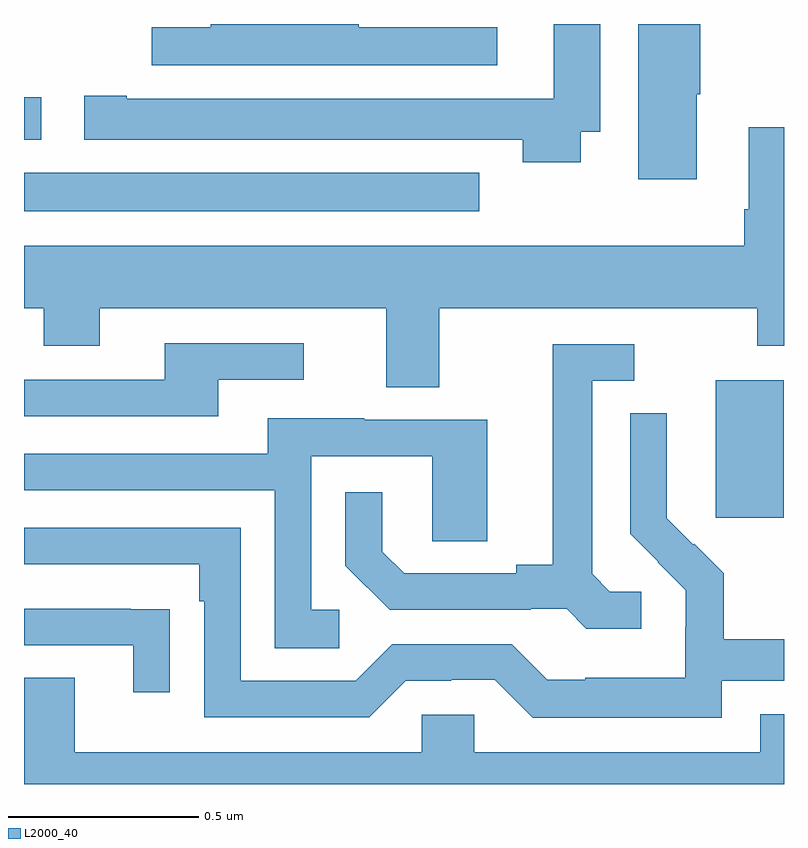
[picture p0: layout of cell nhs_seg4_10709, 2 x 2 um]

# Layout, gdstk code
import gdstk
lib = gdstk.Library(unit=1e-6, precision=1e-09)
def R(c, l, rs):  # rectangles x0, y0, x1, y1
    for r in rs: c.add(gdstk.rectangle(r[:2], r[2:], *l))
def P(c, l, *ps):  # polygons
    for p in ps: c.add(gdstk.Polygon(p, *l))
L2000_40 = (2000, 40)

nhs_seg4_10709 = lib.new_cell('nhs_seg4_10709')
R(nhs_seg4_10709, L2000_40, [(244.82,797.601,244.999,797.962), (243,798.407,244.198,798.508), (243,798.596,243.046,798.707)])
P(nhs_seg4_10709, L2000_40, [(244.246,798.891),(243.881,798.891),(243.881,798.9),(243.492,798.9),(243.492,798.891),(243.336,798.891),(243.336,798.792),(244.246,798.792)],
  [(244.771,798.715),(244.779,798.715),(244.779,798.9),(244.616,798.9),(244.616,798.492),(244.771,798.492)],
  [(244.465,798.617),(244.516,798.617),(244.516,798.9),(244.394,798.9),(244.394,798.703),(243.271,798.703),(243.271,798.711),(243.159,798.711),(243.159,798.596),(244.313,798.596),(244.313,798.536),(244.465,798.536)],
  [(244.093,798.152),(244.93,798.152),(244.93,798.053),(245,798.053),(245,798.628),(244.907,798.628),(244.907,798.412),(244.895,798.412),(244.895,798.316),(243,798.316),(243,798.152),(243.052,798.152),(243.052,798.053),(243.199,798.053),(243.199,798.152),(243.953,798.152),(243.953,797.944),(244.093,797.944)],
  [(243.511,797.964),(243.736,797.964),(243.736,798.06),(243.371,798.06),(243.371,797.964),(243,797.964),(243,797.868),(243.511,797.868)],
  [(244.624,797.406),(244.542,797.406),(244.495,797.453),(244.495,797.961),(244.606,797.961),(244.606,798.057),(244.391,798.057),(244.391,797.477),(244.295,797.477),(244.295,797.454),(244,797.454),(243.943,797.511),(243.943,797.668),(243.846,797.668),(243.846,797.474),(243.962,797.358),(244.334,797.358),(244.334,797.361),(244.428,797.361),(244.48,797.309),(244.624,797.309)],
  [(244.836,797.172),(245,797.172),(245,797.281),(244.841,797.281),(244.841,797.455),(244.764,797.532),(244.761,797.529),(244.691,797.6),(244.691,797.722),(244.692,797.722),(244.692,797.876),(244.596,797.876),(244.596,797.558),(244.669,797.485),(244.668,797.484),(244.742,797.41),(244.742,797.313),(244.74,797.313),(244.74,797.179),(244.477,797.179),(244.477,797.175),(244.377,797.175),(244.284,797.268),(243.969,797.268),(243.873,797.172),(243.57,797.172),(243.57,797.574),(243,797.574),(243,797.478),(243.461,797.478),(243.461,797.381),(243.474,797.381),(243.474,797.076),(243.909,797.076),(244.005,797.172),(244.124,797.172),(244.124,797.175),(244.239,797.175),(244.339,797.075),(244.836,797.075)],
  [(243.829,797.358),(243.756,797.358),(243.756,797.763),(244.074,797.763),(244.074,797.539),(244.219,797.539),(244.219,797.859),(243.895,797.859),(243.895,797.863),(243.641,797.863),(243.641,797.769),(243.001,797.769),(243.001,797.673),(243.66,797.673),(243.66,797.257),(243.829,797.257)],
  [(243.383,797.36),(243.281,797.36),(243.281,797.361),(243,797.361),(243,797.265),(243.287,797.265),(243.287,797.142),(243.383,797.142)],
  [(245,797.083),(244.937,797.083),(244.937,796.984),(244.185,796.984),(244.185,797.082),(244.047,797.082),(244.047,796.984),(243.133,796.984),(243.133,797.179),(243,797.179),(243,796.9),(245,796.9)])

lib.write_gds('nhs_seg4_10709.gds')
